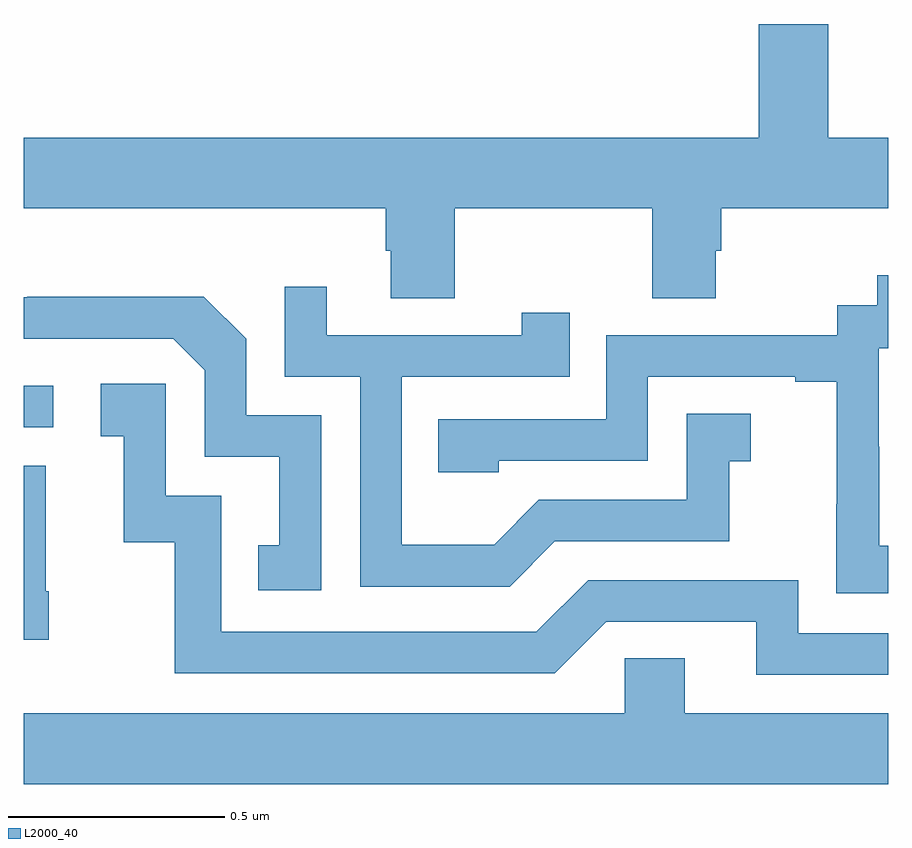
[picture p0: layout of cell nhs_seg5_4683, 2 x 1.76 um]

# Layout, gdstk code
import gdstk
lib = gdstk.Library(unit=1e-6, precision=1e-09)
def R(c, l, rs):  # rectangles x0, y0, x1, y1
    for r in rs: c.add(gdstk.rectangle(r[:2], r[2:], *l))
def P(c, l, *ps):  # polygons
    for p in ps: c.add(gdstk.Polygon(p, *l))
L2000_40 = (2000, 40)

nhs_seg5_4683 = lib.new_cell('nhs_seg5_4683')
R(nhs_seg5_4683, L2000_40, [(173,910.866,173.068,910.962)])
P(nhs_seg5_4683, L2000_40, [(173.997,911.372),(174.454,911.372),(174.454,911.164),(174.601,911.164),(174.601,911.274),(174.614,911.274),(174.614,911.372),(175,911.372),(175,911.536),(174.861,911.536),(174.861,911.799),(174.701,911.799),(174.701,911.536),(173,911.536),(173,911.372),(173.837,911.372),(173.837,911.274),(173.849,911.274),(173.849,911.164),(173.997,911.164)],
  [(175,910.591),(174.98,910.591),(174.98,910.82),(174.978,910.82),(174.978,911.049),(175,911.049),(175,911.218),(174.975,911.218),(174.975,911.148),(174.882,911.148),(174.882,911.079),(174.348,911.079),(174.348,910.884),(173.959,910.884),(173.959,910.761),(174.099,910.761),(174.099,910.788),(174.444,910.788),(174.444,910.983),(174.785,910.983),(174.785,910.971),(174.881,910.971),(174.881,910.687),(174.88,910.687),(174.88,910.481),(175,910.481)],
  [(174.229,910.602),(174.633,910.602),(174.633,910.787),(174.682,910.787),(174.682,910.897),(174.534,910.897),(174.534,910.698),(174.192,910.698),(174.088,910.594),(173.874,910.594),(173.874,910.983),(174.263,910.983),(174.263,911.131),(174.152,911.131),(174.152,911.079),(173.701,911.079),(173.701,911.191),(173.604,911.191),(173.604,910.983),(173.778,910.983),(173.778,910.497),(174.124,910.497)],
  [(173.688,910.893),(173.514,910.893),(173.514,911.07),(173.416,911.168),(173.008,911.168),(173.008,911.166),(173,911.166),(173,911.07),(173.346,911.07),(173.418,910.998),(173.418,910.797),(173.591,910.797),(173.591,910.593),(173.542,910.593),(173.542,910.488),(173.688,910.488)],
  [(175,910.389),(174.792,910.389),(174.792,910.512),(174.306,910.512),(174.186,910.392),(173.457,910.392),(173.457,910.707),(173.328,910.707),(173.328,910.966),(173.178,910.966),(173.178,910.845),(173.231,910.845),(173.231,910.599),(173.349,910.599),(173.349,910.296),(174.228,910.296),(174.348,910.416),(174.695,910.416),(174.695,910.293),(175,910.293)],
  [(173.058,910.486),(173.05,910.486),(173.05,910.777),(173,910.777),(173,910.374),(173.058,910.374)],
  [(175,910.204),(174.529,910.204),(174.529,910.331),(174.39,910.331),(174.39,910.204),(173,910.204),(173,910.04),(175,910.04)])

lib.write_gds('nhs_seg5_4683.gds')
